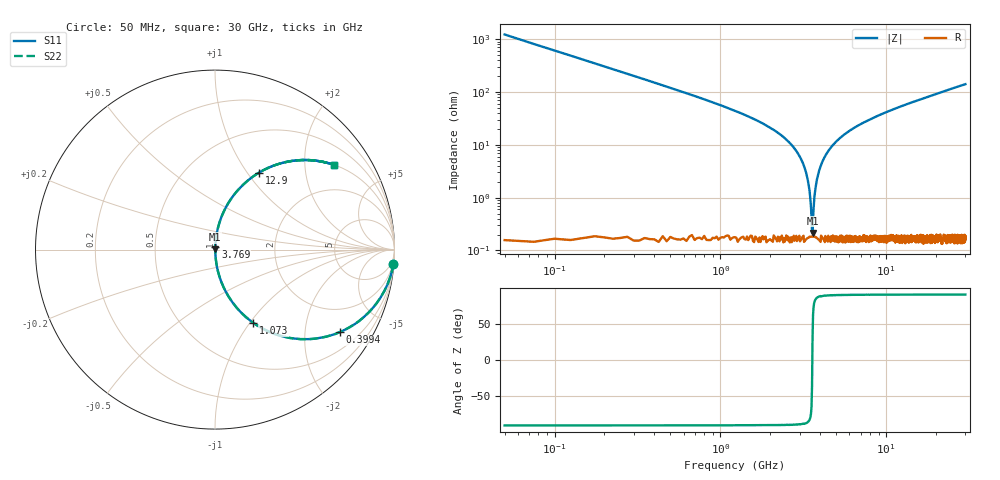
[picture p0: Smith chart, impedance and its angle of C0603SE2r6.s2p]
!	AVX Thin Film Operation 	Date: April 2014
!	Description: Accu-P® Series, Thin Film  SMD RF Capacitor
!	Part Number: 06031J2R6QBSTR
# MHZ S MA R 50
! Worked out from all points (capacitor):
!   1201 points, 50 MHz to 30 GHz, reference 50 ohm
!   read as one part in series: C = 2.6 pF near 199.8 MHz
!   lowest |Z| = 213 mohm at 3.594 GHz (marker M1)
!   series resonance near 3.583 GHz, so ESL is about 760 pH
!   S11 on the Smith chart (normalised r, x): 50 MHz: 1, -24; 399.4 MHz: 1.00, -3.03; 1.073 GHz: 1.00, -1.04; 3.769 GHz: 1.00, +0.03; 12.9 GHz: 1.00, +1.14; 30 GHz: 1.00, +2.82
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50  0.997 -4.7  0.081 85.3  0.081 85.3  0.997 -4.7
249.667  0.925 -22.3  0.379 67.7  0.379 67.7  0.925 -22.3
399.417  0.834 -33.4  0.551 56.5  0.551 56.5  0.834 -33.4
1073.292  0.46 -62.4  0.886 27.4  0.886 27.4  0.46 -62.4
1747.167  0.258 -74.7  0.965 14.9  0.965 14.9  0.258 -74.7
2895.25  0.073 -84.5  0.996 4.2  0.996 4.2  0.073 -84.5
3244.667  0.034 -85.2  0.998 1.9  0.998 1.9  0.034 -85.2
3369.458  0.021 -84.2  0.998 1.2  0.998 1.2  0.021 -84.2
3469.292  0.011 -80.7  0.998 0.6  0.998 0.6  0.011 -80.7
3594.083  0.001987 32.9  0.998 -0.1  0.998 -0.1  0.001987 32.9
3693.917  0.011 80.3  0.998 -0.6  0.998 -0.6  0.011 80.3
3768.792  0.017 83.5  0.998 -1.0  0.998 -1.0  0.017 83.5
3918.542  0.031 85.1  0.998 -1.8  0.998 -1.8  0.031 85.1
4168.125  0.052 85.2  0.997 -3.0  0.997 -3.0  0.052 85.2
5041.667  0.118 82.4  0.991 -6.8  0.991 -6.8  0.118 82.4
6913.542  0.234 76.1  0.971 -13.5  0.971 -13.5  0.234 76.1
10058.29  0.386 67.1  0.921 -22.7  0.921 -22.7  0.386 67.1
12903.54  0.493 60.3  0.868 -29.6  0.868 -29.6  0.493 60.3
15025  0.559 55.9  0.828 -34.0  0.828 -34.0  0.559 55.9
20016.67  0.678 47.2  0.734 -42.7  0.734 -42.7  0.678 47.2
25033.29  0.759 40.5  0.649 -49.4  0.649 -49.4  0.759 40.5
30000  0.815 35.3  0.578 -54.6  0.578 -54.6  0.815 35.3
